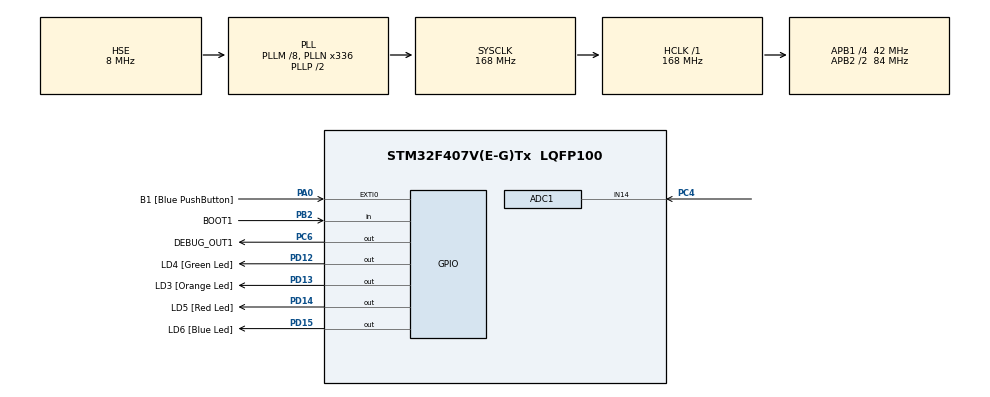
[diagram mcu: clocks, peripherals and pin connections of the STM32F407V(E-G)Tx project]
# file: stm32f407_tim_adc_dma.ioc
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ADC1.Channel-0\#ChannelRegularConversion=ADC_CHANNEL_14
ADC1.Channel-1\#ChannelRegularConversion=ADC_CHANNEL_TEMPSENSOR
ADC1.ContinuousConvMode=DISABLE
ADC1.DMAContinuousRequests=ENABLE
ADC1.EOCSelection=ADC_EOC_SEQ_CONV
ADC1.ExternalTrigConv=ADC_EXTERNALTRIGCONV_T3_TRGO
ADC1.NbrOfConversion=2
ADC1.NbrOfConversionFlag=1
ADC1.Rank-0\#ChannelRegularConversion=1
ADC1.Rank-1\#ChannelRegularConversion=2
ADC1.SamplingTime-0\#ChannelRegularConversion=ADC_SAMPLETIME_84CYCLES
ADC1.SamplingTime-1\#ChannelRegularConversion=ADC_SAMPLETIME_112CYCLES
ADC1.master=1
Dma.ADC1.0.Direction=DMA_PERIPH_TO_MEMORY
Dma.ADC1.0.FIFOMode=DMA_FIFOMODE_DISABLE
Dma.ADC1.0.Instance=DMA2_Stream0
Dma.ADC1.0.MemDataAlignment=DMA_MDATAALIGN_HALFWORD
Dma.ADC1.0.MemInc=DMA_MINC_ENABLE
Dma.ADC1.0.Mode=DMA_CIRCULAR
Dma.ADC1.0.PeriphDataAlignment=DMA_PDATAALIGN_HALFWORD
Dma.ADC1.0.PeriphInc=DMA_PINC_DISABLE
Dma.ADC1.0.Priority=DMA_PRIORITY_HIGH
Dma.Request0=ADC1
Mcu.Family=STM32F4
Mcu.Name=STM32F407V(E-G)Tx
Mcu.Package=LQFP100
NVIC.DMA2_Stream0_IRQn=true\:0\:0\:false\:false\:true\:false\:true
NVIC.PriorityGroup=NVIC_PRIORITYGROUP_0
NVIC.TIM3_IRQn=true\:0\:0\:false\:false\:true\:true\:true
PA0-WKUP.GPIO_Label=B1 [Blue PushButton]
PA0-WKUP.GPIO_ModeDefaultEXTI=GPIO_MODE_EVT_RISING
PA0-WKUP.GPIO_PuPd=GPIO_NOPULL
PA0-WKUP.Signal=GPXTI0
PA13.GPIO_Label=SWDIO
PA13.Mode=Trace_Asynchronous_SW
PA13.Signal=SYS_JTMS-SWDIO
PA14.GPIO_Label=SWCLK
PA14.Mode=Trace_Asynchronous_SW
PA14.Signal=SYS_JTCK-SWCLK
PB2.GPIO_Label=BOOT1
PB2.GPIO_Mode=GPIO_MODE_INPUT
PB2.GPIO_PuPd=GPIO_NOPULL
PB2.Signal=GPIO_Input
PB3.GPIO_Label=SWO
PB3.Mode=Trace_Asynchronous_SW
PB3.Signal=SYS_JTDO-SWO
PC14-OSC32_IN.GPIO_Label=PC14-OSC32_IN
PC14-OSC32_IN.Mode=LSE-External-Oscillator
PC14-OSC32_IN.Signal=RCC_OSC32_IN
PC15-OSC32_OUT.GPIO_Label=PC15-OSC32_OUT
PC15-OSC32_OUT.Mode=LSE-External-Oscillator
PC15-OSC32_OUT.Signal=RCC_OSC32_OUT
PC4.Signal=ADCx_IN14
PC6.GPIO_Label=DEBUG_OUT1
PC6.Signal=GPIO_Output
PD12.GPIO_Label=LD4 [Green Led]
PD12.GPIO_PuPd=GPIO_NOPULL
PD12.GPIO_Speed=GPIO_SPEED_FREQ_LOW
PD12.Signal=GPIO_Output
PD13.GPIO_Label=LD3 [Orange Led]
PD13.GPIO_PuPd=GPIO_NOPULL
PD13.GPIO_Speed=GPIO_SPEED_FREQ_LOW
PD13.Signal=GPIO_Output
PD14.GPIO_Label=LD5 [Red Led]
PD14.GPIO_PuPd=GPIO_NOPULL
PD14.GPIO_Speed=GPIO_SPEED_FREQ_LOW
PD14.Signal=GPIO_Output
PD15.GPIO_Label=LD6 [Blue Led]
PD15.GPIO_PuPd=GPIO_NOPULL
PD15.GPIO_Speed=GPIO_SPEED_FREQ_LOW
PD15.Signal=GPIO_Output
PH0-OSC_IN.GPIO_Label=PH0-OSC_IN
PH0-OSC_IN.Mode=HSE-External-Oscillator
PH0-OSC_IN.Signal=RCC_OSC_IN
PH1-OSC_OUT.GPIO_Label=PH1-OSC_OUT
PH1-OSC_OUT.Mode=HSE-External-Oscillator
PH1-OSC_OUT.Signal=RCC_OSC_OUT
ProjectManager.HeapSize=0x200
ProjectManager.StackSize=0x400
ProjectManager.TargetToolchain=STM32CubeIDE
RCC.48MHZClocksFreq_Value=48000000
RCC.AHBFreq_Value=168000000
RCC.APB1CLKDivider=RCC_HCLK_DIV4
RCC.APB1Freq_Value=42000000
RCC.APB1TimFreq_Value=84000000
RCC.APB2CLKDivider=RCC_HCLK_DIV2
RCC.APB2Freq_Value=84000000
RCC.APB2TimFreq_Value=168000000
RCC.CortexFreq_Value=168000000
RCC.HCLKFreq_Value=168000000
RCC.HSE_VALUE=8000000
RCC.HSI_VALUE=16000000
RCC.PLLM=8
RCC.PLLN=336
RCC.PLLQ=7
RCC.PLLSourceVirtual=RCC_PLLSOURCE_HSE
RCC.SYSCLKFreq_VALUE=168000000
RCC.SYSCLKSource=RCC_SYSCLKSOURCE_PLLCLK
RCC.VCOOutputFreq_Value=336000000
SH.ADCx_IN14.0=ADC1_IN14,IN14
TIM3.Period=49999
TIM3.Prescaler=83
TIM3.TIM_MasterOutputTrigger=TIM_TRGO_UPDATE
TIM3.TIM_MasterSlaveMode=TIM_MASTERSLAVEMODE_ENABLE
VP_ADC1_TempSens_Input.Mode=IN-TempSens
VP_TIM3_VS_ClockSourceINT.Mode=Internal
board=STM32F407G-DISC1

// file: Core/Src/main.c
/* USER CODE BEGIN Header */
/**
  ******************************************************************************
  * @file           : main.c
  * @brief          : Main program body
  ******************************************************************************
  * @attention
  *
  * Copyright (c) 2022 STMicroelectronics.
  * All rights reserved.
  *
  * This software is licensed under terms that can be found in the LICENSE file
  * in the root directory of this software component.
  * If no LICENSE file comes with this software, it is provided AS-IS.
  *
  ******************************************************************************
  */
/* USER CODE END Header */
#include "main.h"
#include "adc.h"
#include "dma.h"
#include "tim.h"
#include "gpio.h"

/* USER CODE BEGIN Includes */
#include <stdio.h>
/* USER CODE END Includes */

/* USER CODE BEGIN PD */
#define ADC_NUM_CHAN 2
/* USER CODE END PD */

/* USER CODE BEGIN PV */
volatile uint16_t dmaBuffer[ADC_NUM_CHAN];
uint16_t processed_adc[ADC_NUM_CHAN];
/* USER CODE END PV */

void SystemClock_Config(void);

/* USER CODE BEGIN 0 */
int _write(int file, char *ptr, int len)
{
  int DataIdx;

  for (DataIdx = 0; DataIdx < len; DataIdx++)
  {
    ITM_SendChar(*ptr++);
  }
  return len;
}

void HAL_ADC_ConvCpltCallback(ADC_HandleTypeDef *hadc)
{
	HAL_GPIO_WritePin(DEBUG_OUT1_GPIO_Port, DEBUG_OUT1_Pin, GPIO_PIN_RESET);
	HAL_GPIO_WritePin(LD3_GPIO_Port,LD3_Pin, GPIO_PIN_RESET);

	for(size_t j=0; j < ADC_NUM_CHAN; j++)
	{
		processed_adc[j] = dmaBuffer[j];
	}
}

void HAL_TIM_PeriodElapsedCallback (TIM_HandleTypeDef * htim)
{
	if(htim->Instance == htim3.Instance)
	{
		HAL_GPIO_WritePin(DEBUG_OUT1_GPIO_Port, DEBUG_OUT1_Pin, GPIO_PIN_SET);
		//HAL_GPIO_TogglePin(DEBUG_OUT1_GPIO_Port, DEBUG_OUT1_Pin);
		HAL_GPIO_WritePin(LD3_GPIO_Port,LD3_Pin, GPIO_PIN_SET);
	}

}
/* USER CODE END 0 */

int main(void)
{

  /* MCU Configuration--------------------------------------------------------*/

  /* Reset of all peripherals, Initializes the Flash interface and the Systick. */
  HAL_Init();

  /* Configure the system clock */
  SystemClock_Config();

  /* Initialize all configured peripherals */
  MX_GPIO_Init();
  MX_DMA_Init();
  MX_ADC1_Init();
  MX_TIM3_Init();
  /* USER CODE BEGIN 2 */
  HAL_TIM_Base_Start_IT(&htim3);
  if(HAL_ADC_Start_DMA(&hadc1, (uint32_t*)&dmaBuffer[0], ADC_NUM_CHAN) != HAL_OK)
  {
	  while(1)
	  {
		  HAL_GPIO_TogglePin(LD4_GPIO_Port, LD4_Pin);
		  HAL_Delay(200);
	  }

  }

  HAL_ADC_Start(&hadc1);
  /* USER CODE END 2 */

  /* Infinite loop */
  /* USER CODE BEGIN WHILE */
  uint32_t now = 0;
  uint32_t then = 0;
  while (1)
  {
    now = HAL_GetTick();
    if(now - then >= 1000)
    {
    	printf("Temperature ADC = %u\n",processed_adc[ADC_TEMPERATURE] );
    	printf("Chan 14 ADC = %u\n",processed_adc[ADC_CHAN_14] );
    }
    then = now;
    /* USER CODE END WHILE */

  }
}

void SystemClock_Config(void)
{
  RCC_OscInitTypeDef RCC_OscInitStruct = {0};
  RCC_ClkInitTypeDef RCC_ClkInitStruct = {0};

  /** Configure the main internal regulator output voltage
  */
  __HAL_RCC_PWR_CLK_ENABLE();
  __HAL_PWR_VOLTAGESCALING_CONFIG(PWR_REGULATOR_VOLTAGE_SCALE1);
  /** Initializes the RCC Oscillators according to the specified parameters
  * in the RCC_OscInitTypeDef structure.
  */
  RCC_OscInitStruct.OscillatorType = RCC_OSCILLATORTYPE_HSE;
  RCC_OscInitStruct.HSEState = RCC_HSE_ON;
  RCC_OscInitStruct.PLL.PLLState = RCC_PLL_ON;
  RCC_OscInitStruct.PLL.PLLSource = RCC_PLLSOURCE_HSE;
  RCC_OscInitStruct.PLL.PLLM = 8;
  RCC_OscInitStruct.PLL.PLLN = 336;
  RCC_OscInitStruct.PLL.PLLP = RCC_PLLP_DIV2;
  RCC_OscInitStruct.PLL.PLLQ = 7;
  if (HAL_RCC_OscConfig(&RCC_OscInitStruct) != HAL_OK)
  {
    Error_Handler();
  }
  /** Initializes the CPU, AHB and APB buses clocks
  */
  RCC_ClkInitStruct.ClockType = RCC_CLOCKTYPE_HCLK|RCC_CLOCKTYPE_SYSCLK
                              |RCC_CLOCKTYPE_PCLK1|RCC_CLOCKTYPE_PCLK2;
  RCC_ClkInitStruct.SYSCLKSource = RCC_SYSCLKSOURCE_PLLCLK;
  RCC_ClkInitStruct.AHBCLKDivider = RCC_SYSCLK_DIV1;
  RCC_ClkInitStruct.APB1CLKDivider = RCC_HCLK_DIV4;
  RCC_ClkInitStruct.APB2CLKDivider = RCC_HCLK_DIV2;

  if (HAL_RCC_ClockConfig(&RCC_ClkInitStruct, FLASH_LATENCY_5) != HAL_OK)
  {
    Error_Handler();
  }
}

void Error_Handler(void)
{
  __disable_irq();
  while (1)
  {
  }
}
